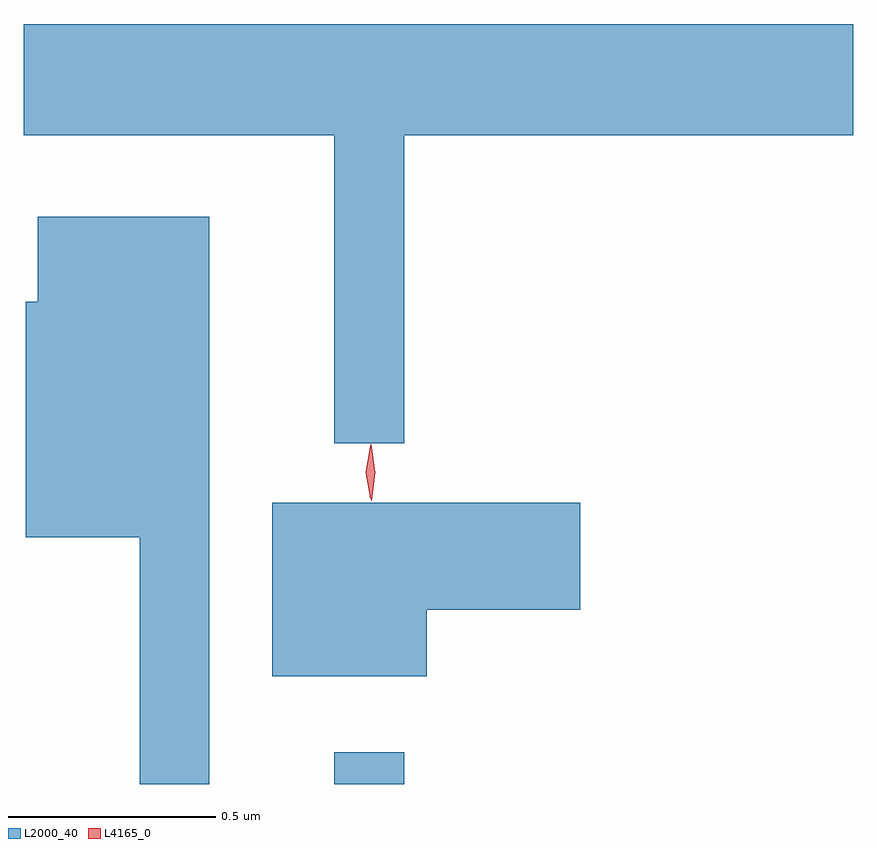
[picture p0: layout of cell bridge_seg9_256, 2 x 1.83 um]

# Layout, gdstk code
import gdstk
lib = gdstk.Library(unit=1e-6, precision=1e-09)
def R(c, l, rs):  # rectangles x0, y0, x1, y1
    for r in rs: c.add(gdstk.rectangle(r[:2], r[2:], *l))
def P(c, l, *ps):  # polygons
    for p in ps: c.add(gdstk.Polygon(p, *l))
L2000_40 = (2000, 40)
L4165_0 = (4165, 0)

bridge_seg9_256 = lib.new_cell('bridge_seg9_256')
R(bridge_seg9_256, L2000_40, [(1361.531,1948.071,1361.699,1948.148)])
P(bridge_seg9_256, L2000_40, [(1361.699,1949.636),(1362.782,1949.636),(1362.782,1949.904),(1360.782,1949.904),(1360.782,1949.636),(1361.531,1949.636),(1361.531,1948.893),(1361.699,1948.893)],
  [(1361.229,1949.439),(1360.816,1949.439),(1360.816,1949.234),(1360.786,1949.234),(1360.786,1948.666),(1361.061,1948.666),(1361.061,1948.071),(1361.229,1948.071)],
  [(1361.754,1948.491),(1362.124,1948.491),(1362.124,1948.749),(1361.381,1948.749),(1361.381,1948.331),(1361.754,1948.331)])
P(bridge_seg9_256, L4165_0, [(1361.62,1948.754),(1361.61,1948.822),(1361.619,1948.89),(1361.619,1948.89),(1361.62,1948.89),(1361.63,1948.822),(1361.621,1948.754),(1361.621,1948.754)],
  [(1361.617,1948.76),(1361.617,1948.76),(1361.607,1948.823),(1361.617,1948.886),(1361.617,1948.887),(1361.618,1948.886),(1361.627,1948.823),(1361.618,1948.76)])

lib.write_gds('bridge_seg9_256.gds')
